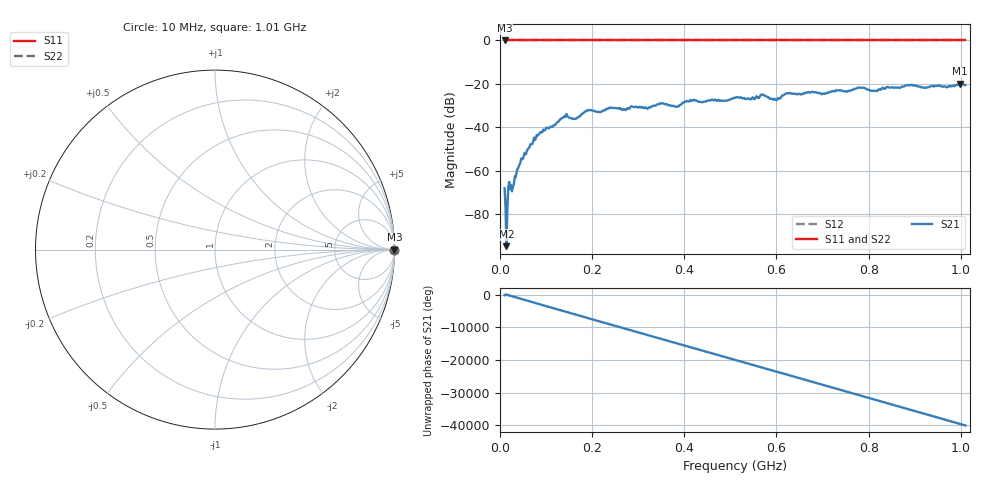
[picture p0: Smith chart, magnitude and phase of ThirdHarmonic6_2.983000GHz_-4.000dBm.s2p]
! 8/17/2025 8:28:41 AM
! C:\ANRITSUVNA\TEMP\TEMP.S2P
! CHANNEL.1
! TR.MEASUREMENT
! RAW.DATA
! RF.CORRECTION.OFF
! AVERAGING.OFF
! IF.BANDWIDTH: 5KHZ
! SWEEPTYPE:  FREQ.SWEEP(Linear)
! Reference Plane Port Info
! PORT:  PORT1  PORT2
! DISTANCE:  0  m  0  m
! TIME:  0  s  0  s
! PHASE.OFFSET:  0  deg.  0  deg.
! LOSS:  0  dB  0  dB
! REF.LOSS:  0  dB  0  dB
! REF.FREQ:  0  Hz  0  Hz
! Power Info
! POWER:  -20  dBm  -20  dBm
! EFF.POWER:  -20  dBm  -20  dBm
! SOURCE.ATTEN:  0  dB  0  dB
! TEST.ATTEN:  0  dB  0  dB
# GHZ S RI R 50.0
! FREQ.GHZ  S11RE  S11IM  S21RE  S21IM  S12RE  S12IM  S22RE  S22IM
!; PortSelection: Port_12
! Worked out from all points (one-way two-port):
!   501 points, 10 MHz to 1.01 GHz, reference 50 ohm
!   highest |S21| = -19.95 dB at 998 MHz (marker M1); lowest = -94.7 dB at 14 MHz (marker M2)
!   lowest |S11| = 0.0 dB at 10 MHz (marker M3)
!   |S11| at or under -10 dB: nowhere
!   |S22| runs from 0.0 to 0.0 dB; largest |S21 - S12| = 1.1
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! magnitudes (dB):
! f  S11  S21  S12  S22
! 10 MHz  0.0  -68.1  0.0  0.0
! 14 MHz  0.0  -94.7  0.0  0.0
! 22 MHz  0.0  -68.4  0.0  0.0
! 30 MHz  0.0  -66.1  0.0  0.0
! 42 MHz  0.0  -57.3  0.0  0.0
! 78 MHz  0.0  -44.8  0.0  0.0
! 140 MHz  0.0  -35.0  0.0  0.0
! 162 MHz  0.0  -36.1  0.0  0.0
! 178 MHz  0.0  -33.8  0.0  0.0
! 194 MHz  0.0  -32.1  0.0  0.0
! 322 MHz  0.0  -31.1  0.0  0.0
! 344 MHz  0.0  -29.4  0.0  0.0
! 384 MHz  0.0  -30.4  0.0  0.0
! 418 MHz  0.0  -27.7  0.0  0.0
! 510 MHz  0.0  -26.4  0.0  0.0
! 570 MHz  0.0  -24.9  0.0  0.0
! 596 MHz  0.0  -26.9  0.0  0.0
! 624 MHz  0.0  -24.3  0.0  0.0
! 678 MHz  0.0  -23.7  0.0  0.0
! 844 MHz  0.0  -21.6  0.0  0.0
! 998 MHz  0.0  -19.9  0.0  0.0
! 1.01 GHz  0.0  -20.5  0.0  0.0
